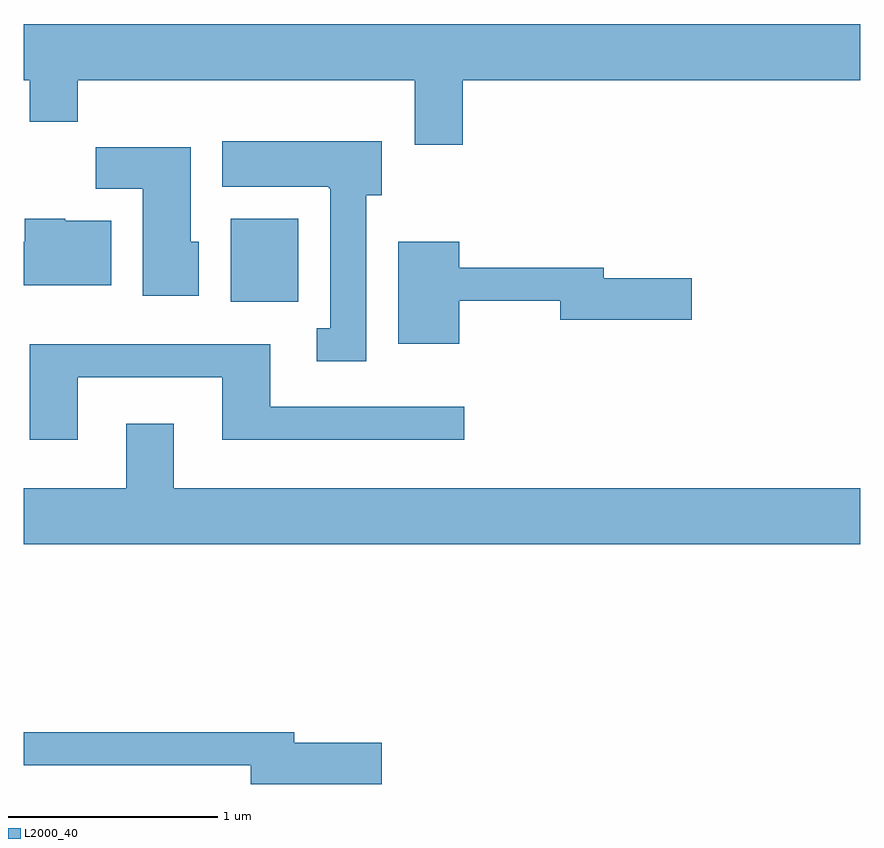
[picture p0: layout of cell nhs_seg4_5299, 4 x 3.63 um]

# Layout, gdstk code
import gdstk
lib = gdstk.Library(unit=1e-6, precision=1e-09)
def R(c, l, rs):  # rectangles x0, y0, x1, y1
    for r in rs: c.add(gdstk.rectangle(r[:2], r[2:], *l))
def P(c, l, *ps):  # polygons
    for p in ps: c.add(gdstk.Polygon(p, *l))
L2000_40 = (2000, 40)

nhs_seg4_5299 = lib.new_cell('nhs_seg4_5299')
R(nhs_seg4_5299, L2000_40, [(340.601,1382.476,340.924,1382.874)])
P(nhs_seg4_5299, L2000_40, [(341.709,1383.536),(343.611,1383.536),(343.611,1383.804),(339.611,1383.804),(339.611,1383.536),(339.641,1383.536),(339.641,1383.336),(339.869,1383.336),(339.869,1383.536),(341.481,1383.536),(341.481,1383.226),(341.709,1383.226)],
  [(341.249,1382.986),(341.324,1382.986),(341.324,1383.244),(340.561,1383.244),(340.561,1383.026),(341.07,1383.026),(341.07,1383.02),(341.076,1383.02),(341.076,1382.349),(341.013,1382.349),(341.013,1382.191),(341.249,1382.191)],
  [(340.449,1382.764),(340.409,1382.764),(340.409,1383.214),(339.956,1383.214),(339.956,1383.016),(340.181,1383.016),(340.181,1382.506),(340.449,1382.506)],
  [(340.029,1382.864),(339.81,1382.864),(339.81,1382.874),(339.616,1382.874),(339.616,1382.764),(339.611,1382.764),(339.611,1382.556),(340.029,1382.556)],
  [(341.694,1382.481),(342.176,1382.481),(342.176,1382.391),(342.804,1382.391),(342.804,1382.589),(342.384,1382.589),(342.384,1382.639),(341.694,1382.639),(341.694,1382.764),(341.401,1382.764),(341.401,1382.276),(341.694,1382.276)],
  [(339.869,1382.116),(340.561,1382.116),(340.561,1381.816),(341.718,1381.816),(341.718,1381.974),(340.789,1381.974),(340.789,1382.274),(339.641,1382.274),(339.641,1381.816),(339.869,1381.816)],
  [(343.611,1381.584),(340.329,1381.584),(340.329,1381.894),(340.101,1381.894),(340.101,1381.584),(339.611,1381.584),(339.611,1381.316),(343.611,1381.316)],
  [(341.324,1380.369),(340.904,1380.369),(340.904,1380.419),(339.611,1380.419),(339.611,1380.261),(340.696,1380.261),(340.696,1380.171),(341.324,1380.171)])

lib.write_gds('nhs_seg4_5299.gds')
